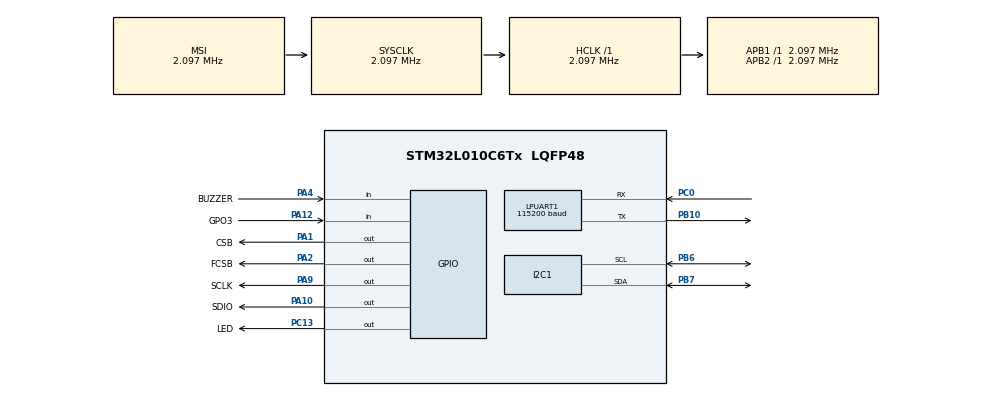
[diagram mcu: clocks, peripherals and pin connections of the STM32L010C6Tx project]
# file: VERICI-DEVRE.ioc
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LPUART1.BaudRate=115200
LPUART1.WordLength=UART_WORDLENGTH_8B
Mcu.Family=STM32L0
Mcu.Name=STM32L010C6Tx
Mcu.Package=LQFP48
NVIC.RTC_IRQn=true\:0\:0\:false\:false\:true\:true\:true
PA1.GPIO_Label=CSB
PA1.Signal=GPIO_Output
PA10.GPIO_Label=SDIO
PA10.Signal=GPIO_Output
PA12.GPIO_Label=GPO3
PA12.Signal=GPIO_Input
PA13.Mode=Serial_Wire
PA13.Signal=SYS_SWDIO
PA14.Mode=Serial_Wire
PA14.Signal=SYS_SWCLK
PA2.GPIO_Label=FCSB
PA2.Signal=GPIO_Output
PA4.GPIO_Label=BUZZER
PA4.Signal=GPIO_Input
PA9.GPIO_Label=SCLK
PA9.Signal=GPIO_Output
PB10.Mode=Asynchronous
PB10.Signal=LPUART1_TX
PB6.GPIO_Pu=GPIO_PULLUP
PB6.Mode=I2C
PB6.Signal=I2C1_SCL
PB7.GPIO_Pu=GPIO_PULLUP
PB7.Mode=I2C
PB7.Signal=I2C1_SDA
PC0.Mode=Asynchronous
PC0.Signal=LPUART1_RX
PC13-ANTI_TAMP.GPIO_Label=LED
PC13-ANTI_TAMP.Signal=GPIO_Output
ProjectManager.HeapSize=0x200
ProjectManager.StackSize=0x400
ProjectManager.TargetToolchain=STM32CubeIDE
RCC.AHBFreq_Value=2097000
RCC.APB1Freq_Value=2097000
RCC.APB1TimFreq_Value=2097000
RCC.APB2Freq_Value=2097000
RCC.APB2TimFreq_Value=2097000
RCC.HCLKFreq_Value=2097000
RCC.HSE_VALUE=25000000
RCC.HSI16_VALUE=16000000
RCC.HSI_VALUE=16000000
RCC.LSE_VALUE=32768
RCC.MSI_VALUE=2097000
RCC.PLLMUL=RCC_PLLMUL_4
RCC.SYSCLKFreq_VALUE=2097000
RCC.VCOOutputFreq_Value=64000000
RTC.AsynchPrediv=124
RTC.SynchPrediv=295
RTC.WakeUpClock-WakeUp=RTC_WAKEUPCLOCK_RTCCLK_DIV16
RTC.WakeUpCounter-WakeUp=10
VP_ADC_Vref_Input.Mode=IN-Vrefint
VP_RTC_VS_RTC_Activate.Mode=RTC_Enabled
VP_RTC_VS_RTC_WakeUp_intern.Mode=WakeUp
board=custom

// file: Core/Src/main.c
/* USER CODE BEGIN Header */
/**
 ******************************************************************************
 @file           : main.c
 @brief          : Main program body
 ******************************************************************************
 @attention

 <h2><center>&copy; Copyright (c) 2021 STMicroelectronics.
 All rights reserved.</center></h2>

 This software component is licensed by ST under BSD 3-Clause license,
 the "License"; You may not use this file except in compliance with the
 License. You may obtain a copy of the License at:
 opensource.org/licenses/BSD-3-Clause

 ******************************************************************************
 */
/* USER CODE END Header */
#include "main.h"

/* USER CODE BEGIN Includes */
#include "RFM300_Driver.h"
#include "rf_conf.h"
#include <string.h>
#include <stdio.h>
#include "sht3x.h"
#include <stdlib.h>
#define printf(...)  HAL_UART_Transmit((UART_HandleTypeDef *)&hlpuart1, (uint8_t *)u_buf,\
		                                sprintf((char*)u_buf,__VA_ARGS__), 0xFFFF);
uint8_t u_buf[256];
/* USER CODE END Includes */

ADC_HandleTypeDef hadc;

I2C_HandleTypeDef hi2c1;

UART_HandleTypeDef hlpuart1;

RTC_HandleTypeDef hrtc;

void SystemClock_Config(void);
static void MX_GPIO_Init(void);
static void MX_LPUART1_UART_Init(void);
static void MX_I2C1_Init(void);
static void MX_ADC_Init(void);
static void MX_RTC_Init(void);

int main(void)
{
  /* USER CODE BEGIN 1 */
	/*Bu kodda alıcıya 25 bit gönderiyoruz. Ama sayarken ilk biti 0. diye sayıyoruz
	 * örneğin: 247244023294+A0000000001B
	 * ilk 4 biti sıcaklık yani, şu anda +24.72 derece
	 * sonraki 4 biti nem yani şu andan %44.02'lik bir nem var
	 * sonraki 4 biti vericiye gelen voltaj mili volt cinsinden 3294 milivolt
	 * sonraki kod gelen sıcaklık + mı - mi
	 * sonraki A ile başlayıp B ile biten kod arasındaki numara seri numarası integer cinsinden
	 *
	 * örneğin: 94744023294e-A0000000001B
	 * 11. bitinde e olması demek sıcaklığın tek haneli olması demek yani sadece 3bit dikkate alınır
	 * ilk 3 biti sıcaklık yani, -9.47 derece
	 * sonraki 4 biti nem yani şu andan %44.02'lik bir nem var
	 * sonraki 4 biti vericiye gelen voltaj mili volt cinsinden 3294 milivolt
	 * sonraki kod gelen sıcaklık + mı - mi
	 * sonraki A ile başlayıp B ile biten kod arasındaki numara seri numarası integer cinsinden
	 */
  /* USER CODE END 1 */

  /* MCU Configuration--------------------------------------------------------*/

  /* Reset of all peripherals, Initializes the Flash interface and the Systick. */
  HAL_Init();

  /* Configure the system clock */
  SystemClock_Config();

  /* Initialize all configured peripherals */
  MX_GPIO_Init();
  MX_LPUART1_UART_Init();
  MX_I2C1_Init();
  MX_ADC_Init();
  MX_RTC_Init();
  /* USER CODE BEGIN 2 */
	//  https://github.com/Sensirion/embedded-sht sht30 kodları kaynak
	sensirion_i2c_init();
	printf("Basladi\r\n");
HAL_Delay(1000);
	 /* while (sht3x_probe(SHT3X_I2C_ADDR_DFLT) != STATUS_OK) {
	  printf("SHT sensor probing failed\n"); }*/

	printf("SHT sensor probing successful\n");
#define VREFINT_CAL_ADDR			0x1FF80078 //STM32L010C6Tx datasheet'inden bakıldı. Bu koda ve aşağıdaki Vrefint için yazıldı
#define VREFINT_CAL 				((uint16_t*) VREFINT_CAL_ADDR)

#define TX_NUM  25
	byte tx_buf[25] = { 'H', 'A', 'T', 'A', '1', '1', '1', '1', '1', '1', 'A',
			'0', '0', '0', '0', '0', '0', '0', '0', '0', '5', 'B' };
	// Sensör bozulursa veya çalışmazsa veya yanlış veri gelirse alıcıya hatalı mesajını gönderir (tx_buf[32]).
	char buffer[25];
	char buffer2[50];
	char buffer3[100];
	char buffer4[25];
	char buffer5[25];

	FixedPktLength = 0;
	PayloadLength = 23;
	vInit();
	vCfgBank(CMTBank, 12);
	vCfgBank(SystemBank, 12);
	vCfgBank(FrequencyBank, 8);
	vCfgBank(DataRateBank, 24);
	vCfgBank(BasebandBank, 29);
	vCfgBank(TXBank, 11);
	vEnableAntSwitch(0);
	vGpioFuncCfg(GPIO1_DCLK + GPIO2_DCLK + GPIO3_INT2); //GPIO Maping

	vIntSrcCfg(INT_FIFO_NMTY_TX, INT_TX_DONE);    //IRQ maping
	vIntSrcEnable(TX_DONE_EN);
	vClearFIFO();
	bGoSleep();

	//int c = 0; sayaç kullanmak istersen yorumu aç
	HAL_ADCEx_Calibration_Start(&hadc, ADC_SINGLE_ENDED); // vrefint'ten ölçülecek voltajın düzgün ölçülmesi için yapılan kalibrasyon ayarı

	int32_t temperature, humidity;
	int8_t ret = sht3x_measure_blocking_read(SHT3X_I2C_ADDR_DFLT, &temperature,
			&humidity);
	if (__HAL_PWR_GET_FLAG(PWR_FLAG_SB) != RESET) { //RTC ile saniye sayar o sürede stanby moduna alır. bekleme bittikten sonra bu fonksiyonun içindekileri yapar ve tekrar uyku moduna geçer.

		HAL_GPIO_WritePin(GPIOC, GPIO_PIN_13, GPIO_PIN_SET);
		HAL_Delay(3000); //yukarıdaki ve hal delay satırı kod yazarken aşamayı görmek için yazılmıştır sonradan silebilirsin

		//ADC'deki vrefint enable ettikten sonra aşağıdaki başlayan ve biten kodlarda cihaza gelen voltu ölçer
		__HAL_PWR_CLEAR_FLAG(PWR_FLAG_SB);
		HAL_ADC_Start(&hadc);
		HAL_ADC_PollForConversion(&hadc, 100);
		uint16_t VREFINTADC = HAL_ADC_GetValue(&hadc);
		HAL_ADC_Stop(&hadc);
		float VDD = 3000.0 * (*VREFINT_CAL / (float) VREFINTADC);
		//buraya kadar cihaza gelen vrefint'i ölçtü.

		temperature = temperature / 10;
		humidity = humidity / 10;
		if (ret == STATUS_OK) {
			//temperature=-900;
			//temperature = 1500;
//Sıcaklık verisinden gelen veriler eğer -40 ile 100 derece arasında doğru kabul edilir ve alıcıya gönderilmek üzere aşağıdaki fonksiyona girer.
			if (-4000 <= temperature && temperature <= 9999 && 0 <= humidity && humidity <= 9999) {
				memset(buffer, 0, sizeof(buffer)); //buffer'lar boşaltıyorum ki aşağıdaki karekterleri eklerken 0. indisten başlasın
				memset(buffer4, 0, sizeof(buffer4));
				memset(buffer5, 0, sizeof(buffer5));

				if (temperature < 0)
					strncat(buffer, "-", 1); //sıcaklık + ise datanın başına +, - ise datanın başına - ekleniyor.
				 else
					strncat(buffer, "+", 2);

				if (temperature < -1000) { //mesela -12.85 derce
					// -1 ile çarptım çünkü -'li kısmı olmadan ilk 4 bitini göndermek istiyorum.
					temperature = temperature * -1;
					sprintf(buffer4, "%d", temperature); //Temperature/100 demedik çünkü ilk 4 bitini de alıcıya göndermek istiyoruz.100e bölünmesi demek ,'den sonraki 2 sayının silinmesi demek örneğin sonuç 255 yani 25.5 derece eğer ,'den sorna 2 hanenin gözükmesini istersek 10 diyeceğiz yani sonu. 25.57
				    strncat(buffer, buffer4, 4);

				} else if (temperature < -100) {		//mesela -2.85 derece
					strncat(buffer, "0", 1);
					temperature = temperature * -1;
					sprintf(buffer4, "%d", temperature);

					printf("0'la -10 arasında\r\n");
					strncat(buffer, buffer4, 3);
					printf("buffer4: %s\r\n", buffer);

				} else if (temperature < -10) { //mesela -0.85 derece
					strncat(buffer, "00", 2);
					temperature = temperature * -1;
					sprintf(buffer4, "%d", temperature);
					printf("0'la -1 arasında\r\n");

					strncat(buffer, buffer4, 2);
					printf("buffer: %s\r\n", buffer);

				} else if (temperature < 0) { //mesela -0.05 derece
					strncat(buffer, "000", 3);

					temperature = temperature * -1;
					sprintf(buffer4, "%d", temperature);
					printf("0'la -1 arasında\r\n");

					strncat(buffer, buffer4, 2);
					printf("buffer: %s\r\n", buffer);

				} else if (temperature == 0) { //0 derece
					strncat(buffer, "0000", 4);

				} else if (temperature < 10) { //mesela 0.05 derece
					strncat(buffer, "000", 3);
					sprintf(buffer4, "%d", temperature);
					strncat(buffer, buffer4, 2);
					printf("buffer: %s\r\n", buffer);
				} else if (temperature < 100) { //mesela 0.85 derece lcd hata
					strncat(buffer, "00", 2);
					sprintf(buffer4, "%d", temperature);
					printf("0'la 1 arasında\r\n");

					strncat(buffer, buffer4, 2);
					printf("buffer: %s\r\n", buffer);
				} else if (temperature < 1000) { //mesela 2.85 derece
					strncat(buffer, "0", 1);

					printf("1 ile 10 arasinda\r\n");
					sprintf(buffer4, "%d", temperature);
					strncat(buffer, buffer4, 3);
					printf("buffer4: %s\r\n", buffer);

				} else if (temperature >= 1000) { //mesela 22.85 derece
					sprintf(buffer4, "%d", temperature); //Temperature/100 demedik çünkü ilk 4 bitini de alıcıya göndermek istiyoruz.100e bölünmesi demek ,'den sonraki 2 sayının silinmesi demek örneğin sonuç 255 yani 25.5 derece eğer ,'den sorna 2 hanenin gözükmesini istersek 10 diyeceğiz yani sonu. 25.57
					strncat(buffer, buffer4, 4);
				}

				//  printf("measured temperature: %0.2f degreeCelsius","measured humidity: %0.2f percentRH\n",temperature / 1000.0f, humidity / 1000.0f);

				sprintf(buffer2, "%d", humidity);

				strncat(buffer, buffer2, 4); //sondaki sayı eklenecek karakter sayısı
				//printf("buffer: %s\r\n",buffer);

				/*   if(VDD<=3600 && VDD>3240){
				 pil=5;
				 HAL_UART_Transmit(&hlpuart1, "pil=5", 12, 1000);
				 HAL_UART_Transmit( &hlpuart1, (uint8_t *)"\r\n", 2, 100);
				 strncat(buffer, "5", 1); //pil durumu 1-5 arası kadameli olacak
				 HAL_UART_Transmit(&hlpuart1, (uint8_t *)buffer, 10, 1000);
				 HAL_UART_Transmit( &hlpuart1, (uint8_t *)"\r\n", 2, 100);
				 }else if(VDD<=3240 && VDD>2880){
				 pil=4;
				 HAL_UART_Transmit(&hlpuart1, "pil=4", 12, 1000);
				 HAL_UART_Transmit( &hlpuart1, (uint8_t *)"\r\n", 2, 100);
				 strncat(buffer, "4", 1); //pil durumu 1-5 arası kadameli olacak
				 HAL_UART_Transmit(&hlpuart1, (uint8_t *)buffer, 10, 1000);
				 HAL_UART_Transmit( &hlpuart1, (uint8_t *)"\r\n", 2, 100);
				 }else if(VDD<=2880 && VDD>2520){
				 pil=3;
				 HAL_UART_Transmit(&hlpuart1, "pil=3", 12, 1000);
				 HAL_UART_Transmit( &hlpuart1, (uint8_t *)"\r\n", 2, 100);
				 strncat(buffer, "3", 1); //pil durumu 1-5 arası kadameli olacak
				 HAL_UART_Transmit(&hlpuart1, (uint8_t *)buffer, 10, 1000);
				 HAL_UART_Transmit( &hlpuart1, (uint8_t *)"\r\n", 2, 100);
				 }else if(VDD<=2520 && VDD>2160){
				 pil=2;
				 HAL_UART_Transmit(&hlpuart1, "pil=2", 12, 1000);
				 HAL_UART_Transmit( &hlpuart1, (uint8_t *)"\r\n", 2, 100);
				 strncat(buffer, "2", 1); //pil durumu 1-5 arası kadameli olacak
				 HAL_UART_Transmit(&hlpuart1, (uint8_t *)buffer, 10, 1000);
				 HAL_UART_Transmit( &hlpuart1, (uint8_t *)"\r\n", 2, 100);
				 }else if(VDD<2160){
				 pil=1;
				 HAL_UART_Transmit(&hlpuart1, "pil=1", 12, 1000);
				 HAL_UART_Transmit( &hlpuart1, (uint8_t *)"\r\n", 2, 100);
				 strncat(buffer, "1", 1); //pil durumu 1-5 arası kadameli olacak
				 HAL_UART_Transmit(&hlpuart1, (uint8_t *)buffer, 10, 1000);
				 HAL_UART_Transmit( &hlpuart1, (uint8_t *)"\r\n", 2, 100);
				 }*/

				//Buffer'a pil durumunu ekliyoruz
				int vddint = (int) VDD;
				sprintf(buffer3, "%d", vddint);
					strncat(buffer, buffer3, 4); //sondaki sayı eklenecek karakter sayısı
			//strncat(buffer, buffer3, 3); //sondaki sayı eklenecek karakter sayısı

				//Buffer'a sıcaklığın - mi + mı durumunu ekliyoruz

				//strncat(buffer, "s", 1);

				//Buffer'a seri numarasını ekliyoruz
				strncat(buffer, "A0000000006B", 12); //seri numarası 10 haneli A ve B arasında
				//HAL_UART_Transmit(&hlpuart1, (uint8_t *)buffer, 22, 1000);
				//HAL_UART_Transmit( &hlpuart1, (uint8_t *)"\r\n", 2, 100);
				//   strncat(buffer,"Asill000000B", 12);
				// strncat(buffer,"Asil2000000B", 12);
				//  strncat(buffer,"Asil2000000B", 12);
				//   strncat(buffer,"Asil3000000B", 12);
				//  strncat(buffer,"Asil4000000B", 12);
				//  strncat(buffer,"Asil5000000B", 12);
				// strncat(buffer,"Asil6000000B", 12);

				printf("buffer toplam: %s\r\n", buffer);
				/*
				 sıcaklığın ilk 3 veya 4 biti değişirse göndermesini istersen kullan:
				 if((bufferkontrol[0]!=buffer[0])||(bufferkontrol[1]!=buffer[1])||(bufferkontrol[2]!=buffer[2])||(bufferkontrol[3]!=buffer[3])){
				 if((bufferkontrol[0]!=buffer[0])||(bufferkontrol[1]!=buffer[1])||(bufferkontrol[2]!=buffer[2])||(bufferkontrol[3]!=buffer[3]))
				 else HAL_UART_Transmit( &hlpuart1, (uint8_t *)"degısmedi\r\n",11, 100);
				 strcpy(bufferkontrol,buffer);
				 */

				//Bufferı gönderiyioruz sonrasında CMT2119 B transmitterı uykuya sokuyoruz
				bSendMessage(buffer, strlen(buffer));
				while (GPO3_L());
				bIntSrcFlagClr();
				vClearFIFO();
				bGoSleep();
				printf("gonderildi\r\n");
				// HAL_Delay(4000);

			} else {
				//Eger sensorden yanlis veri gelirse veya sensor bozulursa aliciya hatali mesajini gönderir
				printf("gonderilmedi\r\n");
				/*bSendMessage(tx_buf, 22);
				while (GPO3_L());
				bIntSrcFlagClr();
				vClearFIFO();
				bGoSleep();*/

			}

		} else {
			//Eger sensorden yanlis veri gelirse veya sensor bozulursa aliciya hatali mesajini gönderir
			printf("gonderilmedi\r\n");
			/*bSendMessage(tx_buf, 22);
			while (GPO3_L())
				;
			bIntSrcFlagClr();
			vClearFIFO();
			bGoSleep();*/

		}

		HAL_PWR_DisableWakeUpPin(PWR_WAKEUP_PIN1);  // disable PA0
		/** Deactivate the RTC wakeup  **/
		HAL_RTCEx_DeactivateWakeUpTimer(&hrtc);
	}

	__HAL_PWR_CLEAR_FLAG(PWR_FLAG_WU);
	__HAL_RTC_WAKEUPTIMER_CLEAR_FLAG(&hrtc, RTC_FLAG_WUTF);
	printf("About to enter the STANDBY MODE\r\n");

	HAL_PWR_EnableWakeUpPin(PWR_WAKEUP_PIN1);
	//if (HAL_RTCEx_SetWakeUpTimer_IT(&hrtc, 0x90A, RTC_WAKEUPCLOCK_RTCCLK_DIV16) //1 saniye
	if (HAL_RTCEx_SetWakeUpTimer_IT(&hrtc, 0x5A55, RTC_WAKEUPCLOCK_RTCCLK_DIV16) //10 saniye
			!= HAL_OK) {
		Error_Handler();
	}
	printf("STANDBY MODE is ON\r\n");
	GPIO_ALL_DisEnable(); //Güç harcamaması için bütün çevre birimlerini kapatıyoruz

	HAL_PWR_EnterSTANDBYMode(); //uyku moduna alıyoruz

  /* USER CODE END 2 */

  /* Infinite loop */
	while (1) {

	}
}

void SystemClock_Config(void)
{
  RCC_OscInitTypeDef RCC_OscInitStruct = {0};
  RCC_ClkInitTypeDef RCC_ClkInitStruct = {0};
  RCC_PeriphCLKInitTypeDef PeriphClkInit = {0};

  /** Configure the main internal regulator output voltage
  */
  __HAL_PWR_VOLTAGESCALING_CONFIG(PWR_REGULATOR_VOLTAGE_SCALE1);
  /** Initializes the RCC Oscillators according to the specified parameters
  * in the RCC_OscInitTypeDef structure.
  */
  RCC_OscInitStruct.OscillatorType = RCC_OSCILLATORTYPE_LSI|RCC_OSCILLATORTYPE_MSI;
  RCC_OscInitStruct.LSIState = RCC_LSI_ON;
  RCC_OscInitStruct.MSIState = RCC_MSI_ON;
  RCC_OscInitStruct.MSICalibrationValue = 0;
  RCC_OscInitStruct.MSIClockRange = RCC_MSIRANGE_5;
  RCC_OscInitStruct.PLL.PLLState = RCC_PLL_NONE;
  if (HAL_RCC_OscConfig(&RCC_OscInitStruct) != HAL_OK)
  {
    Error_Handler();
  }
  /** Initializes the CPU, AHB and APB buses clocks
  */
  RCC_ClkInitStruct.ClockType = RCC_CLOCKTYPE_HCLK|RCC_CLOCKTYPE_SYSCLK
                              |RCC_CLOCKTYPE_PCLK1|RCC_CLOCKTYPE_PCLK2;
  RCC_ClkInitStruct.SYSCLKSource = RCC_SYSCLKSOURCE_MSI;
  RCC_ClkInitStruct.AHBCLKDivider = RCC_SYSCLK_DIV1;
  RCC_ClkInitStruct.APB1CLKDivider = RCC_HCLK_DIV1;
  RCC_ClkInitStruct.APB2CLKDivider = RCC_HCLK_DIV1;

  if (HAL_RCC_ClockConfig(&RCC_ClkInitStruct, FLASH_LATENCY_0) != HAL_OK)
  {
    Error_Handler();
  }
  PeriphClkInit.PeriphClockSelection = RCC_PERIPHCLK_LPUART1|RCC_PERIPHCLK_I2C1
                              |RCC_PERIPHCLK_RTC;
  PeriphClkInit.Lpuart1ClockSelection = RCC_LPUART1CLKSOURCE_PCLK1;
  PeriphClkInit.I2c1ClockSelection = RCC_I2C1CLKSOURCE_PCLK1;
  PeriphClkInit.RTCClockSelection = RCC_RTCCLKSOURCE_LSI;
  if (HAL_RCCEx_PeriphCLKConfig(&PeriphClkInit) != HAL_OK)
  {
    Error_Handler();
  }
}

static void MX_ADC_Init(void)
{

  ADC_ChannelConfTypeDef sConfig = {0};

  /** Configure the global features of the ADC (Clock, Resolution, Data Alignment and number of conversion)
  */
  hadc.Instance = ADC1;
  hadc.Init.OversamplingMode = DISABLE;
  hadc.Init.ClockPrescaler = ADC_CLOCK_SYNC_PCLK_DIV1;
  hadc.Init.Resolution = ADC_RESOLUTION_12B;
  hadc.Init.SamplingTime = ADC_SAMPLETIME_1CYCLE_5;
  hadc.Init.ScanConvMode = ADC_SCAN_DIRECTION_FORWARD;
  hadc.Init.DataAlign = ADC_DATAALIGN_RIGHT;
  hadc.Init.ContinuousConvMode = DISABLE;
  hadc.Init.DiscontinuousConvMode = DISABLE;
  hadc.Init.ExternalTrigConvEdge = ADC_EXTERNALTRIGCONVEDGE_NONE;
  hadc.Init.ExternalTrigConv = ADC_SOFTWARE_START;
  hadc.Init.DMAContinuousRequests = DISABLE;
  hadc.Init.EOCSelection = ADC_EOC_SINGLE_CONV;
  hadc.Init.Overrun = ADC_OVR_DATA_PRESERVED;
  hadc.Init.LowPowerAutoWait = DISABLE;
  hadc.Init.LowPowerFrequencyMode = ENABLE;
  hadc.Init.LowPowerAutoPowerOff = DISABLE;
  if (HAL_ADC_Init(&hadc) != HAL_OK)
  {
    Error_Handler();
  }
  /** Configure for the selected ADC regular channel to be converted.
  */
  sConfig.Channel = ADC_CHANNEL_VREFINT;
  sConfig.Rank = ADC_RANK_CHANNEL_NUMBER;
  if (HAL_ADC_ConfigChannel(&hadc, &sConfig) != HAL_OK)
  {
    Error_Handler();
  }

}

static void MX_I2C1_Init(void)
{

  hi2c1.Instance = I2C1;
  hi2c1.Init.Timing = 0x00000708;
  hi2c1.Init.OwnAddress1 = 0;
  hi2c1.Init.AddressingMode = I2C_ADDRESSINGMODE_7BIT;
  hi2c1.Init.DualAddressMode = I2C_DUALADDRESS_DISABLE;
  hi2c1.Init.OwnAddress2 = 0;
  hi2c1.Init.OwnAddress2Masks = I2C_OA2_NOMASK;
  hi2c1.Init.GeneralCallMode = I2C_GENERALCALL_DISABLE;
  hi2c1.Init.NoStretchMode = I2C_NOSTRETCH_DISABLE;
  if (HAL_I2C_Init(&hi2c1) != HAL_OK)
  {
    Error_Handler();
  }
  /** Configure Analogue filter
  */
  if (HAL_I2CEx_ConfigAnalogFilter(&hi2c1, I2C_ANALOGFILTER_ENABLE) != HAL_OK)
  {
    Error_Handler();
  }
  /** Configure Digital filter
  */
  if (HAL_I2CEx_ConfigDigitalFilter(&hi2c1, 0) != HAL_OK)
  {
    Error_Handler();
  }

}

static void MX_LPUART1_UART_Init(void)
{

  hlpuart1.Instance = LPUART1;
  hlpuart1.Init.BaudRate = 115200;
  hlpuart1.Init.WordLength = UART_WORDLENGTH_8B;
  hlpuart1.Init.StopBits = UART_STOPBITS_1;
  hlpuart1.Init.Parity = UART_PARITY_NONE;
  hlpuart1.Init.Mode = UART_MODE_TX_RX;
  hlpuart1.Init.HwFlowCtl = UART_HWCONTROL_NONE;
  hlpuart1.Init.OneBitSampling = UART_ONE_BIT_SAMPLE_DISABLE;
  hlpuart1.AdvancedInit.AdvFeatureInit = UART_ADVFEATURE_NO_INIT;
  if (HAL_UART_Init(&hlpuart1) != HAL_OK)
  {
    Error_Handler();
  }

}

static void MX_RTC_Init(void)
{

  /** Initialize RTC Only
  */
  hrtc.Instance = RTC;
  hrtc.Init.HourFormat = RTC_HOURFORMAT_24;
  hrtc.Init.AsynchPrediv = 124;
  hrtc.Init.SynchPrediv = 295;
  hrtc.Init.OutPut = RTC_OUTPUT_DISABLE;
  hrtc.Init.OutPutRemap = RTC_OUTPUT_REMAP_NONE;
  hrtc.Init.OutPutPolarity = RTC_OUTPUT_POLARITY_HIGH;
  hrtc.Init.OutPutType = RTC_OUTPUT_TYPE_OPENDRAIN;
  if (HAL_RTC_Init(&hrtc) != HAL_OK)
  {
    Error_Handler();
  }
  /** Enable the WakeUp
  */
  if (HAL_RTCEx_SetWakeUpTimer_IT(&hrtc, 10, RTC_WAKEUPCLOCK_RTCCLK_DIV16) != HAL_OK)
  {
    Error_Handler();
  }

}

static void MX_GPIO_Init(void)
{
  GPIO_InitTypeDef GPIO_InitStruct = {0};

  /* GPIO Ports Clock Enable */
  __HAL_RCC_GPIOC_CLK_ENABLE();
  __HAL_RCC_GPIOA_CLK_ENABLE();
  __HAL_RCC_GPIOB_CLK_ENABLE();

  /*Configure GPIO pin Output Level */
  HAL_GPIO_WritePin(LED_GPIO_Port, LED_Pin, GPIO_PIN_RESET);

  /*Configure GPIO pin Output Level */
  HAL_GPIO_WritePin(GPIOA, CSB_Pin|FCSB_Pin|SCLK_Pin|SDIO_Pin, GPIO_PIN_RESET);

  /*Configure GPIO pin : LED_Pin */
  GPIO_InitStruct.Pin = LED_Pin;
  GPIO_InitStruct.Mode = GPIO_MODE_OUTPUT_PP;
  GPIO_InitStruct.Pull = GPIO_NOPULL;
  GPIO_InitStruct.Speed = GPIO_SPEED_FREQ_LOW;
  HAL_GPIO_Init(LED_GPIO_Port, &GPIO_InitStruct);

  /*Configure GPIO pins : CSB_Pin FCSB_Pin SCLK_Pin SDIO_Pin */
  GPIO_InitStruct.Pin = CSB_Pin|FCSB_Pin|SCLK_Pin|SDIO_Pin;
  GPIO_InitStruct.Mode = GPIO_MODE_OUTPUT_PP;
  GPIO_InitStruct.Pull = GPIO_NOPULL;
  GPIO_InitStruct.Speed = GPIO_SPEED_FREQ_LOW;
  HAL_GPIO_Init(GPIOA, &GPIO_InitStruct);

  /*Configure GPIO pins : BUZZER_Pin GPO3_Pin */
  GPIO_InitStruct.Pin = BUZZER_Pin|GPO3_Pin;
  GPIO_InitStruct.Mode = GPIO_MODE_INPUT;
  GPIO_InitStruct.Pull = GPIO_NOPULL;
  HAL_GPIO_Init(GPIOA, &GPIO_InitStruct);

}

/* USER CODE BEGIN 4 */
void GPIO_ALL_DisEnable(void) {
	/*   GPIO_InitTypeDef GPIO_InitStruct;
	 __HAL_RCC_GPIOA_CLK_ENABLE();
	 __HAL_RCC_GPIOB_CLK_ENABLE();
	 __HAL_RCC_GPIOC_CLK_ENABLE();
	 __HAL_RCC_GPIOH_CLK_ENABLE();
	 GPIO_InitStruct.Mode = GPIO_MODE_ANALOG;
	 GPIO_InitStruct.Speed = GPIO_SPEED_HIGH;
	 GPIO_InitStruct.Pull = GPIO_NOPULL;
	 GPIO_InitStruct.Pin = GPIO_PIN_All;
	 HAL_GPIO_Init(GPIOA, &GPIO_InitStruct);
	 HAL_GPIO_Init(GPIOB, &GPIO_InitStruct);
	 HAL_GPIO_Init(GPIOC, &GPIO_InitStruct);
	 HAL_GPIO_Init(GPIOH, &GPIO_InitStruct);
	 */
	__HAL_RCC_GPIOA_CLK_DISABLE();
	__HAL_RCC_GPIOB_CLK_DISABLE();
	__HAL_RCC_GPIOC_CLK_DISABLE();
	__HAL_RCC_GPIOH_CLK_DISABLE();
	HAL_GPIO_DeInit(GPIOC, GPIO_PIN_13);
	HAL_GPIO_DeInit(GPIOA, SDIO_Pin);
	HAL_GPIO_DeInit(GPIOA, GPO3_Pin);
	HAL_GPIO_DeInit(GPIOA, BUZZER_Pin);
	HAL_GPIO_DeInit(GPIOA, CSB_Pin);
	HAL_GPIO_DeInit(GPIOA, FCSB_Pin);
	HAL_GPIO_DeInit(GPIOA, SCLK_Pin);
	//HAL_RTC_DeInit(&hrtc);
	HAL_UART_DeInit(&hlpuart1);
	HAL_I2C_DeInit(&hi2c1);
	HAL_ADC_DeInit(&hadc);
}

/* USER CODE END 4 */

void Error_Handler(void)
{
	__disable_irq();
	while (1) {
	}
}

/************************ (C) COPYRIGHT STMicroelectronics *****END OF FILE****/
